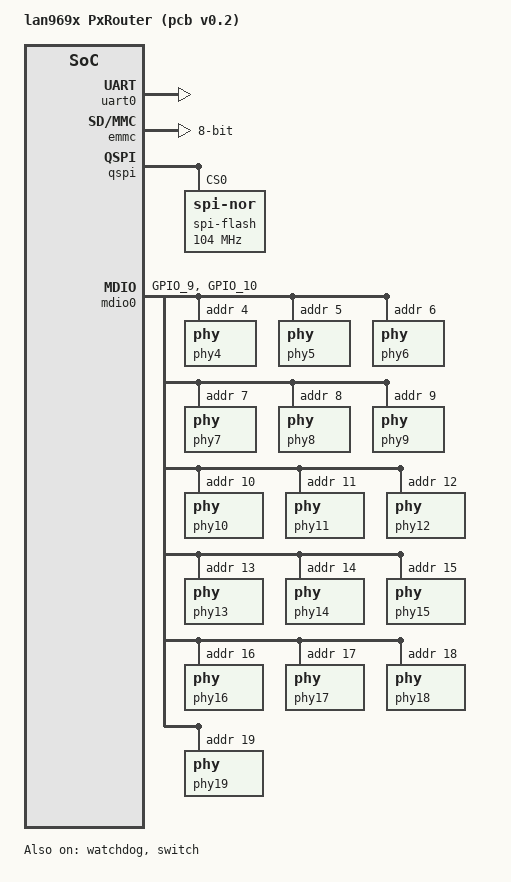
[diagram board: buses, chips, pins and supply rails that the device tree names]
/dts-v1/;

#include "lan969x_a0.dtsi"
#include "lan969x.dtsi"

#include <dt-bindings/mscc/sparx5_data.h>

/ {
  model = "lan969x PxRouter (pcb v0.2)";
  config {
    u-boot,mmc-env-partition = "Env";
  };

//  signature {
//
//    key-dev {
//      required = "conf";
//      algo = "sha1,rsa2048";
//      rsa,r-squared = <0xa11355a8 0xe5fbf853 0x4cad0cf3 0x18dde7c8 0x7c761f47 0xd5e232f2 0x37ee2d8c 0x4f342b5a 0x3c504e8 0x1da3bb73 0x6ecd88e6 0x8df92c62 0x4f755dc0 0x4b207061 0x622c7836 0x185bf909 0x4424a9ae 0xe6fe4c9b 0x8beb9731 0x3c1998a8 0x7561ac39 0xdb26b962 0xc31c0c63 0x72849969 0x28f2770c 0xee16c99a 0x77f3c3c9 0x58e62814 0x7244043d 0x7cf2dc63 0xda301712 0x785570b 0xab47eeb1 0x1ac4d905 0x60202f41 0x56ee6bf5 0x80a8e24 0x8718e819 0x20637a0a 0x1f1b9e61 0x1d39412e 0xba5d4e 0x2d1a4635 0xc653642c 0x6c6dcb8 0x42c06125 0x2e0814fd 0x37bb25f9 0xc3d8417f 0x799fcbe2 0x350ce116 0x4c6f42c0 0xab8d4f23 0xf9a31fb7 0x87387fc7 0x1033ca17 0xac36501f 0x6a55eef9 0xc98c1c16 0xa680486c 0x7b0d0f3e 0x630836c6 0x8048b1bc 0x7e2b3a35>;
//      rsa,modulus = <0xb6ee6f3e 0xaf0e11db 0x8d8c3ea7 0xc0a0e560 0xc54badd6 0xadb336e 0x8b90dbe 0x57b7cade 0xeb7d14a3 0x2419cc73 0x574e0744 0xc2191d5c 0xcca0f377 0x1987301a 0x68062ae9 0xc8185a98 0x851612ca 0x67d8d5de 0x4f3a1727 0x16623953 0x2d4a9c50 0x85d485d 0x92f07adb 0xb154db71 0xde9874c6 0x892da18e 0x150d9605 0x2b58bb05 0xa87b1850 0x150d2438 0xe96f2229 0x8ccbcc35 0xf042e21f 0x8984ae26 0x612dc0ba 0xedcf120c 0x8d7bcfc1 0x16c8ab6e 0xf89f8a4b 0x68888df0 0x1e0fa73f 0x6b4984f4 0x4ad3f537 0x959e698c 0xfb849080 0xf67b26e 0xe9341cb 0x6ae8120 0x9c232494 0x21194090 0xd5d96d32 0x57a8c610 0xa4dd22c5 0xa520de46 0x53a7f284 0xce6b6edb 0x217efa56 0x586b8301 0x996f323 0xe3cdbf9f 0x24a46d0c 0xd1fa07ef 0x627ea53d 0x960e5eaf>;
//      rsa,exponent = <0x00 0x10001>;
//      rsa,n0-inverse = <0xfc9247b1>;
//      rsa,num-bits = <0x800>;
//      key-name-hint = "dev";
//    };
//  };
};

&uart0 {
  status = "okay";
  pinctrl-0 = <&fc0_pins>;
  pinctrl-names = "default";
};

&emmc {
  status = "okay";
  pinctrl-0 = <&emmc_sd_pins>;
  pinctrl-names = "default";
  bus-width = <8>;
};

&qspi {
  status = "okay";
  spi-flash@0 {
    status = "okay";
    compatible = "jedec,spi-nor";
    reg = <0>;
    spi-max-frequency = <104000000>;
    u-boot,dm-pre-reloc;
    m25p,fast-read;
    spi-tx-bus-width = <1>;
    spi-rx-bus-width = <4>;
  };
};

&gpio {
  mdio_pins: mdio-pins {
    pins = "GPIO_9", "GPIO_10";
    function = "miim";
  };
};

&watchdog {
	status = "okay";
};

&mdio0 {
  pinctrl-0 = <&mdio_pins>;
  pinctrl-names = "default";
  status = "okay";

  phy4: phy@4 {
    reg = <4>;
  };

  phy5: phy@5 {
    reg = <5>;
  };

  phy6: phy@6 {
    reg = <6>;
  };

  phy7: phy@7 {
    reg = <7>;
  };

  phy8: phy@8 {
    reg = <8>;
  };

  phy9: phy@9 {
    reg = <9>;
  };

  phy10: phy@10 {
    reg = <10>;
  };

  phy11: phy@11 {
    reg = <11>;
  };

  phy12: phy@12 {
    reg = <12>;
  };

  phy13: phy@13 {
    reg = <13>;
  };

  phy14: phy@14 {
    reg = <14>;
  };

  phy15: phy@15 {
    reg = <15>;
  };

  phy16: phy@16 {
    reg = <16>;
  };

  phy17: phy@17 {
    reg = <17>;
  };

  phy18: phy@18 {
    reg = <18>;
  };

  phy19: phy@19 {
    reg = <19>;
  };
};

&switch {
  status = "okay";
  ethernet-ports {
    port0: port@0 {
      reg = <0>;
      phy-handle = <&phy4>;
      phys = <IF_QSGMII 10 1>;
    };

    port1: port@1 {
      reg = <1>;
      phy-handle = <&phy5>;
      phys = <IF_QSGMII 10 1>;
    };

    port2: port@2 {
      reg = <2>;
      phy-handle = <&phy6>;
      phys = <IF_QSGMII 10 1>;
    };

    port3: port@3 {
      reg = <3>;
      phy-handle = <&phy7>;
      phys = <IF_QSGMII 10 1>;
    };

    port4: port@4 {
      reg = <4>;
      phy-handle = <&phy8>;
      phys = <IF_QSGMII 10 0>;
    };

    port5: port@5 {
      reg = <5>;
      phy-handle = <&phy9>;
      phys = <IF_QSGMII 10 0>;
    };

    port6: port@6 {
      reg = <6>;
      phy-handle = <&phy10>;
      phys = <IF_QSGMII 10 0>;
    };

    port7: port@7 {
      reg = <7>;
      phy-handle = <&phy11>;
      phys = <IF_QSGMII 10 0>;
    };

    port8: port@8 {
      reg = <8>;
      phy-handle = <&phy12>;
      phys = <IF_QSGMII 10 3>;
    };

    port9: port@9 {
      reg = <9>;
      phy-handle = <&phy13>;
      phys = <IF_QSGMII 10 3>;
    };

    port10: port@10 {
      reg = <10>;
      phy-handle = <&phy14>;
      phys = <IF_QSGMII 10 3>;
    };

    port11: port@11 {
      reg = <11>;
      phy-handle = <&phy15>;
      phys = <IF_QSGMII 10 3>;
    };

    port12: port@12 {
      reg = <12>;
      phy-handle = <&phy16>;
      phys = <IF_QSGMII 10 2>;
    };

    port13: port@13 {
      reg = <13>;
      phy-handle = <&phy17>;
      phys = <IF_QSGMII 10 2>;
    };

    port14: port@14 {
      reg = <14>;
      phy-handle = <&phy18>;
      phys = <IF_QSGMII 10 2>;
    };

    port15: port@15 {
      reg = <15>;
      phy-handle = <&phy19>;
      phys = <IF_QSGMII 10 2>;
    };
  };
};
